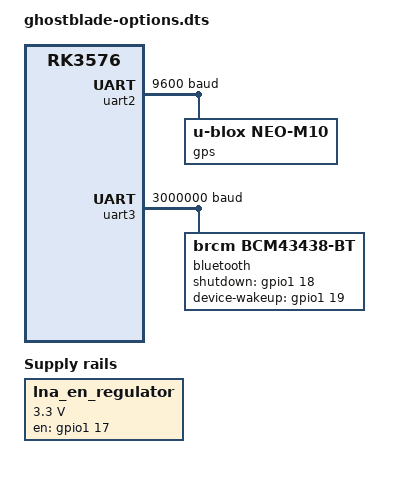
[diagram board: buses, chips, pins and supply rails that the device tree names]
// SPDX-License-Identifier: (GPL-2.0+ OR MIT)
/*
 * Device Tree Overlay — GhostBlade Optional Hardware
 * Project NullSpectre
 *
 * Apply this overlay when external GPS or Bluetooth modules
 * are connected to the expansion headers.
 *
 * Usage:
 *   dtc -I dts -O dtb -@ -o ghostblade-options.dtbo ghostblade-options.dts
 *   sudo mkdir -p /sys/kernel/config/device-tree/overlays/options
 *   sudo cp ghostblade-options.dtbo /sys/kernel/config/device-tree/overlays/options/dtbo
 */

/dts-v1/;
/plugin/;

#include <dt-bindings/gpio/gpio.h>
#include <dt-bindings/interrupt-controller/irq.h>

/ {
	compatible = "ghostblade,nullspectre", "rockchip,rk3576";

	/*
	 * Fragment 0: GPS Module (u-blox NEO-M10N on UART2)
	 * Connected via expansion header J8
	 */
	fragment@0 {
		target = <&uart2>;

		__overlay__ {
			status = "okay";
			current-speed = <9600>;

			gps: gps-nmea {
				compatible = "u-blox,neo-m10";
				current-speed = <9600>;
			};
		};
	};

	/*
	 * Fragment 1: External LNA power for SDR
	 * GPIO-controlled LNA enable for external preamplifiers
	 */
	fragment@1 {
		target-path = "/";

		__overlay__ {
			lna_en_regulator: lna-en-regulator {
				compatible = "regulator-fixed";
				regulator-name = "lna_en";
				regulator-min-microvolt = <3300000>;
				regulator-max-microvolt = <3300000>;
				gpio = <&gpio1 17 GPIO_ACTIVE_HIGH>; /* GPIO1_C1: LNA_EN */
				enable-active-high;
				startup-delay-us = <1000>;
			};
		};
	};

	/*
	 * Fragment 2: Bluetooth over UART3 (optional BT module)
	 * Connected via expansion header J9
	 */
	fragment@2 {
		target = <&uart3>;

		__overlay__ {
			status = "okay";
			current-speed = <3000000>;

			bluetooth: bluetooth {
				compatible = "brcm,bcm43438-bt";
				max-speed = <3000000>;
				shutdown-gpios = <&gpio1 18 GPIO_ACTIVE_HIGH>; /* BT_REG_ON */
				device-wakeup-gpios = <&gpio1 19 GPIO_ACTIVE_HIGH>; /* BT_HOST_WAKE */
				brcm,has-uart-policy;
			};
		};
	};

	/*
	 * Fragment 3: Additional pinctrl for overlay peripherals
	 */
	fragment@3 {
		target = <&pinctrl>;

		__overlay__ {
			uart2_pins_overlay: uart2-pins-overlay {
				pins = "UART2_TX", "UART2_RX";
				function = "uart2";
				bias-pull-up;
				drive-strength = <4>;
			};

			uart3_pins_overlay: uart3-pins-overlay {
				pins = "UART3_TX", "UART3_RX",
				       "UART3_CTS", "UART3_RTS";
				function = "uart3";
				bias-pull-up;
				drive-strength = <4>;
			};
		};
	};
};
